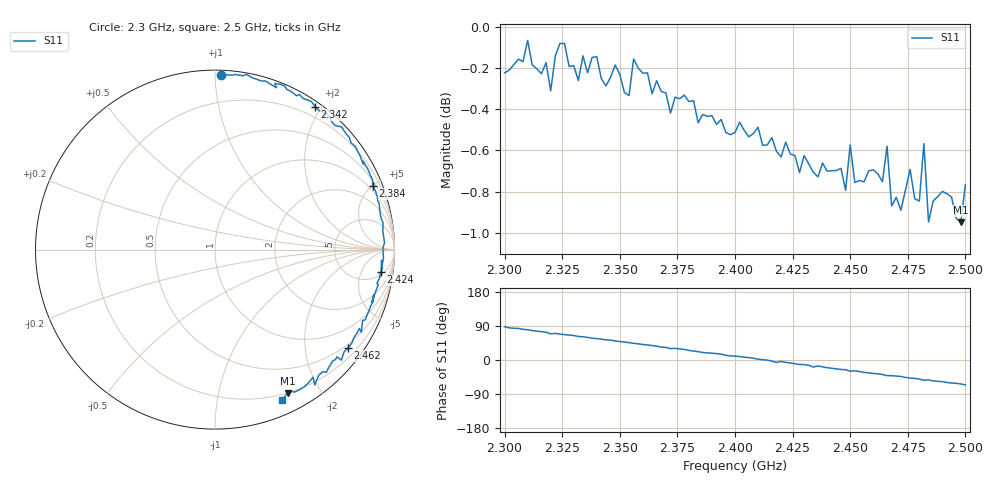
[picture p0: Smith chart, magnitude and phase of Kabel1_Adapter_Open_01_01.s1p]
# HZ S RI R 50
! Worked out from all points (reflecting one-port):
!   101 points, 2.3 GHz to 2.5 GHz, reference 50 ohm
!   lowest |S11| = -0.9 dB at 2.498 GHz (marker M1), VSWR 18.31, Z = 9.89 - j80.5 ohm
!   phase of S11 starts at 88 deg and turns -154 deg over the sweep
!   S11 on the Smith chart (normalised r, x): 2.3 GHz: 0.03, +1.04; 2.342 GHz: 0.07, +1.92; 2.384 GHz: 0.72, +5.03; 2.424 GHz: 6, -12; 2.462 GHz: 0.41, -2.98; 2.5 GHz: 0.15, -1.53
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2.3e9  0.0358 0.974
2.31e9  0.1749 0.9769
2.32e9  0.343 0.9018
2.326e9  0.387 0.9121
2.342e9  0.5572 0.7957
2.35e9  0.6435 0.7309
2.372e9  0.8254 0.4761
2.376e9  0.8386 0.4685
2.384e9  0.8785 0.3557
2.4e9  0.9278 0.1667
2.414e9  0.9361 -0.00361
2.418e9  0.9267 -0.1058
2.42e9  0.9279 -0.0592
2.424e9  0.9228 -0.1259
2.426e9  0.9171 -0.1576
2.432e9  0.8994 -0.221
2.434e9  0.8742 -0.2926
2.436e9  0.8848 -0.2501
2.448e9  0.8223 -0.3959
2.45e9  0.8153 -0.4601
2.452e9  0.8043 -0.4397
2.462e9  0.7406 -0.5477
2.476e9  0.6206 -0.6837
2.48e9  0.5789 -0.6984
2.482e9  0.556 -0.7539
2.484e9  0.5461 -0.7111
2.498e9  0.4053 -0.7995
2.5e9  0.3743 -0.8354
